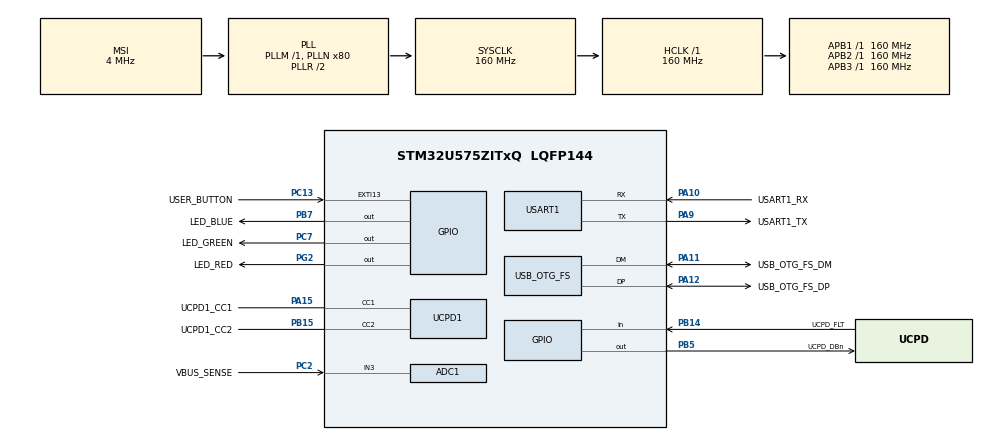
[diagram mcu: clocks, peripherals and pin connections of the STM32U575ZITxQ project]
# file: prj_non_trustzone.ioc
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ADC1.NbrOfConversion=1
ADC1.Resolution=ADC_RESOLUTION_14B
ADC1.master=1
CORTEX_M33_NS.userName=CORTEX_M33
HASH.DataType=HASH_DATATYPE_8B
HASH.KeySize=261
HASH.SecureHashAlgorithmType=HMAC SHA1
HASH.pKey=54 68 65 20 68 61 73 68 20 70 72 6f 63 65 73 73 6f 72 20 69 73 20 61 20 66 75 6c 6c 79 20 63 6f 6d 70 6c 69 61 6e 74 20 69 6d 70 6c 65 6d 65 6e 74 61 74 69 6f 6e 20 6f 66 20 74 68 65 20 73 65 63 75 72 65 20 68 61 73 68 20 61 6c 67 6f 72 69 74 68 6d 20 28 53 48 41 2d 31 29 2c 20 74 68 65 20 4d 44 35 20 28 6d 65 73 73 61 67 65 2d 64 69 67 65 73 74 20 61 6c 67 6f 72 69 74 68 6d 20 35 29 20 68 61 73 68 20 61 6c 67 6f 72 69 74 68 6d 20 61 6e 64 20 74 68 65 20 48 4d 41 43 20 28 6b 65 79 65 64 2d 68 61 73 68 20 6d 65 73 73 61 67 65 20 61 75 74 68 65 6e 74 69 63 61 74 69 6f 6e 20 63 6f 64 65 29 20 61 6c 67 6f 72 69 74 68 6d 20 73 75 69 74 61 62 6c 65 20 66 6f 72 20 61 20 76 61 72 69 65 74 79 20 6f 66 20 61 70 70 6c 69 63 61 74 69 6f 6e 73 2e 2a 2a 2a 20 53 54 4d 33 32 20 2a 2a 2a
HASH.pKeyInput=54686520686173682070726f636573736f7220697320612066756c6c7920636f6d706c69616e7420696d706c656d656e746174696f6e206f662074686520736563757265206861736820616c676f726974686d20285348412d31292c20746865204d443520286d6573736167652d64696765737420616c676f726974686d203529206861736820616c676f726974686d20616e642074686520484d414320286b657965642d68617368206d6573736167652061757468656e7469636174696f6e20636f64652920616c676f726974686d207375697461626c6520666f7220612076617269657479206f66206170706c69636174696f6e732e2a2a2a2053544d3332202a2a2a
Mcu.Family=STM32U5
Mcu.Name=STM32U575ZITxQ
Mcu.Package=LQFP144
NVIC.OTG_FS_IRQn=true\:0\:0\:false\:false\:true\:true\:true\:true
NVIC.PriorityGroup=NVIC_PRIORITYGROUP_3
PA10.GPIO_Label=USART1_RX
PA10.GPIO_PuPd=GPIO_PULLDOWN
PA10.GPIO_Speed=GPIO_SPEED_FREQ_VERY_HIGH
PA10.Mode=Asynchronous
PA10.Signal=USART1_RX
PA11.GPIO_Label=USB_OTG_FS_DM
PA11.GPIO_Speed=GPIO_SPEED_FREQ_VERY_HIGH
PA11.Mode=Device_Only
PA11.Signal=USB_OTG_FS_DM
PA12.GPIO_Label=USB_OTG_FS_DP
PA12.GPIO_Speed=GPIO_SPEED_FREQ_VERY_HIGH
PA12.Mode=Device_Only
PA12.Signal=USB_OTG_FS_DP
PA13\ (JTMS/SWDIO).Mode=Trace_Asynchronous_SW
PA13\ (JTMS/SWDIO).Signal=DEBUG_JTMS-SWDIO
PA14\ (JTCK/SWCLK).Mode=Trace_Asynchronous_SW
PA14\ (JTCK/SWCLK).Signal=DEBUG_JTCK-SWCLK
PA15\ (JTDI).GPIO_Label=UCPD1_CC1
PA15\ (JTDI).Mode=Sink_AllSignals
PA15\ (JTDI).Signal=UCPD1_CC1
PA9.GPIO_Label=USART1_TX
PA9.GPIO_PuPd=GPIO_PULLDOWN
PA9.GPIO_Speed=GPIO_SPEED_FREQ_VERY_HIGH
PA9.Mode=Asynchronous
PA9.Signal=USART1_TX
PB14.GPIO_Label=UCPD_FLT
PB14.Signal=GPIO_Input
PB15.GPIO_Label=UCPD1_CC2
PB15.Mode=Sink_AllSignals
PB15.Signal=UCPD1_CC2
PB3\ (JTDO/TRACESWO).Mode=Trace_Asynchronous_SW
PB3\ (JTDO/TRACESWO).Signal=DEBUG_JTDO-SWO
PB5.GPIO_Label=UCPD_DBn
PB5.Signal=GPIO_Output
PB7.GPIO_Label=LED_BLUE
PB7.GPIO_ModeDefaultOutputPP=GPIO_MODE_OUTPUT_PP
PB7.GPIO_PuPd=GPIO_PULLUP
PB7.GPIO_Speed=GPIO_SPEED_FREQ_HIGH
PB7.Signal=GPIO_Output
PC13.GPIO_Label=USER_BUTTON
PC13.GPIO_ModeDefaultEXTI=GPIO_MODE_IT_FALLING
PC13.Signal=GPXTI13
PC14-OSC32_IN\ (PC14).Mode=LSE-External-Oscillator
PC14-OSC32_IN\ (PC14).Signal=RCC_OSC32_IN
PC15-OSC32_OUT\ (PC15).Mode=LSE-External-Oscillator
PC15-OSC32_OUT\ (PC15).Signal=RCC_OSC32_OUT
PC2.GPIO_Label=VBUS_SENSE
PC2.Mode=IN3-Single-Ended
PC2.Signal=ADC1_IN3
PC7.GPIO_Label=LED_GREEN
PC7.GPIO_PuPd=GPIO_PULLUP
PC7.GPIO_Speed=GPIO_SPEED_FREQ_HIGH
PC7.Signal=GPIO_Output
PG2.GPIO_Label=LED_RED
PG2.GPIO_ModeDefaultOutputPP=GPIO_MODE_OUTPUT_PP
PG2.GPIO_PuPd=GPIO_PULLUP
PG2.GPIO_Speed=GPIO_SPEED_FREQ_HIGH
PG2.Signal=GPIO_Output
PWR.PowerMode=PWR_SMPS_SUPPLY
ProjectManager.HeapSize=0x2000
ProjectManager.StackSize=0x4000
ProjectManager.TargetToolchain=MDK-ARM V5.32
RCC.ADCFreq_Value=16000000
RCC.AHBFreq_Value=160000000
RCC.APB1Freq_Value=160000000
RCC.APB1TimFreq_Value=160000000
RCC.APB2Freq_Value=160000000
RCC.APB2TimFreq_Value=160000000
RCC.APB3Freq_Value=160000000
RCC.CortexFreq_Value=160000000
RCC.DACCLockSelectionVirtual=RCC_DAC1CLKSOURCE_LSI
RCC.DACCLockSelectionVirtualString=RCC_DAC1CLKSOURCE_LSI
RCC.EPOD_VALUE=4000000
RCC.HCLKFreq_Value=160000000
RCC.HSE_VALUE=16000000
RCC.HSI48_VALUE=48000000
RCC.HSI_VALUE=16000000
RCC.LSIDIV_VALUE=32000
RCC.MSI_VALUE=4000000
RCC.PLLN=80
RCC.SYSCLKFreq_VALUE=160000000
RCC.SYSCLKSource=RCC_SYSCLKSOURCE_PLLCLK
RCC.USBFreq_Value=48000000
RCC.VCOOutputFreq_Value=320000000
USART1.VirtualMode-Asynchronous=VM_ASYNC
USB_OTG_FS.VirtualMode=Device_Only
VP_HASH_VS_HASH.Mode=HASH_Activate
VP_ICACHE_VS_ICACHE.Mode=DirectMappedCache
VP_LPBAMQUEUE_VS_QUEUE.Mode=QUEUEMODE
VP_LPBAM_VS_SIG1.Mode=SmartRun
VP_LPBAM_VS_SIG4.Mode=LPDMA1
VP_PWR_VS_DBSignals.Mode=DisableDeadBatterySignals
VP_PWR_VS_LPOM.Mode=PowerOptimisation
VP_PWR_VS_SECSignals.Mode=Security/Privilege
board=NUCLEO-U575ZI-Q

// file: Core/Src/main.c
/* USER CODE BEGIN Header */
/**
 ******************************************************************************
 * @file           : main.c
 * @brief          : Main program body
 ******************************************************************************
 * @attention
 *
 * Copyright (c) 2023 STMicroelectronics.
 * All rights reserved.
 *
 * This software is licensed under terms that can be found in the LICENSE file
 * in the root directory of this software component.
 * If no LICENSE file comes with this software, it is provided AS-IS.
 *
 ******************************************************************************
 */
/* USER CODE END Header */
#include "main.h"
#include "adc.h"
#include "gpio.h"
#include "hash.h"
#include "icache.h"
#include "ucpd.h"
#include "usart.h"
#include "usb_otg.h"

/* USER CODE BEGIN Includes */
#include <stdio.h>
#include <string.h>
/* USER CODE END Includes */

/* USER CODE BEGIN PM */
#define INPUT_TAB_SIZE ((uint32_t)261) /* The size of the input data "aInput"  \
                                        */

__ALIGN_BEGIN static const uint8_t pKeyHASH[261] __ALIGN_END = {
    0x54, 0x68, 0x65, 0x20, 0x68, 0x61, 0x73, 0x68, 0x20, 0x70, 0x72, 0x6f,
    0x63, 0x65, 0x73, 0x73, 0x6f, 0x72, 0x20, 0x69, 0x73, 0x20, 0x61, 0x20,
    0x66, 0x75, 0x6c, 0x6c, 0x79, 0x20, 0x63, 0x6f, 0x6d, 0x70, 0x6c, 0x69,
    0x61, 0x6e, 0x74, 0x20, 0x69, 0x6d, 0x70, 0x6c, 0x65, 0x6d, 0x65, 0x6e,
    0x74, 0x61, 0x74, 0x69, 0x6f, 0x6e, 0x20, 0x6f, 0x66, 0x20, 0x74, 0x68,
    0x65, 0x20, 0x73, 0x65, 0x63, 0x75, 0x72, 0x65, 0x20, 0x68, 0x61, 0x73,
    0x68, 0x20, 0x61, 0x6c, 0x67, 0x6f, 0x72, 0x69, 0x74, 0x68, 0x6d, 0x20,
    0x28, 0x53, 0x48, 0x41, 0x2d, 0x31, 0x29, 0x2c, 0x20, 0x74, 0x68, 0x65,
    0x20, 0x4d, 0x44, 0x35, 0x20, 0x28, 0x6d, 0x65, 0x73, 0x73, 0x61, 0x67,
    0x65, 0x2d, 0x64, 0x69, 0x67, 0x65, 0x73, 0x74, 0x20, 0x61, 0x6c, 0x67,
    0x6f, 0x72, 0x69, 0x74, 0x68, 0x6d, 0x20, 0x35, 0x29, 0x20, 0x68, 0x61,
    0x73, 0x68, 0x20, 0x61, 0x6c, 0x67, 0x6f, 0x72, 0x69, 0x74, 0x68, 0x6d,
    0x20, 0x61, 0x6e, 0x64, 0x20, 0x74, 0x68, 0x65, 0x20, 0x48, 0x4d, 0x41,
    0x43, 0x20, 0x28, 0x6b, 0x65, 0x79, 0x65, 0x64, 0x2d, 0x68, 0x61, 0x73,
    0x68, 0x20, 0x6d, 0x65, 0x73, 0x73, 0x61, 0x67, 0x65, 0x20, 0x61, 0x75,
    0x74, 0x68, 0x65, 0x6e, 0x74, 0x69, 0x63, 0x61, 0x74, 0x69, 0x6f, 0x6e,
    0x20, 0x63, 0x6f, 0x64, 0x65, 0x29, 0x20, 0x61, 0x6c, 0x67, 0x6f, 0x72,
    0x69, 0x74, 0x68, 0x6d, 0x20, 0x73, 0x75, 0x69, 0x74, 0x61, 0x62, 0x6c,
    0x65, 0x20, 0x66, 0x6f, 0x72, 0x20, 0x61, 0x20, 0x76, 0x61, 0x72, 0x69,
    0x65, 0x74, 0x79, 0x20, 0x6f, 0x66, 0x20, 0x61, 0x70, 0x70, 0x6c, 0x69,
    0x63, 0x61, 0x74, 0x69, 0x6f, 0x6e, 0x73, 0x2e, 0x2a, 0x2a, 0x2a, 0x20,
    0x53, 0x54, 0x4d, 0x33, 0x32, 0x20, 0x2a, 0x2a, 0x2a};

__ALIGN_BEGIN const uint8_t aInput[INPUT_TAB_SIZE] __ALIGN_END = {
    0x54, 0x68, 0x65, 0x20, 0x68, 0x61, 0x73, 0x68, 0x20, 0x70, 0x72, 0x6f,
    0x63, 0x65, 0x73, 0x73, 0x6f, 0x72, 0x20, 0x69, 0x73, 0x20, 0x61, 0x20,
    0x66, 0x75, 0x6c, 0x6c, 0x79, 0x20, 0x63, 0x6f, 0x6d, 0x70, 0x6c, 0x69,
    0x61, 0x6e, 0x74, 0x20, 0x69, 0x6d, 0x70, 0x6c, 0x65, 0x6d, 0x65, 0x6e,
    0x74, 0x61, 0x74, 0x69, 0x6f, 0x6e, 0x20, 0x6f, 0x66, 0x20, 0x74, 0x68,
    0x65, 0x20, 0x73, 0x65, 0x63, 0x75, 0x72, 0x65, 0x20, 0x68, 0x61, 0x73,
    0x68, 0x20, 0x61, 0x6c, 0x67, 0x6f, 0x72, 0x69, 0x74, 0x68, 0x6d, 0x20,
    0x28, 0x53, 0x48, 0x41, 0x2d, 0x31, 0x29, 0x2c, 0x20, 0x74, 0x68, 0x65,
    0x20, 0x4d, 0x44, 0x35, 0x20, 0x28, 0x6d, 0x65, 0x73, 0x73, 0x61, 0x67,
    0x65, 0x2d, 0x64, 0x69, 0x67, 0x65, 0x73, 0x74, 0x20, 0x61, 0x6c, 0x67,
    0x6f, 0x72, 0x69, 0x74, 0x68, 0x6d, 0x20, 0x35, 0x29, 0x20, 0x68, 0x61,
    0x73, 0x68, 0x20, 0x61, 0x6c, 0x67, 0x6f, 0x72, 0x69, 0x74, 0x68, 0x6d,
    0x20, 0x61, 0x6e, 0x64, 0x20, 0x74, 0x68, 0x65, 0x20, 0x48, 0x4d, 0x41,
    0x43, 0x20, 0x28, 0x6b, 0x65, 0x79, 0x65, 0x64, 0x2d, 0x68, 0x61, 0x73,
    0x68, 0x20, 0x6d, 0x65, 0x73, 0x73, 0x61, 0x67, 0x65, 0x20, 0x61, 0x75,
    0x74, 0x68, 0x65, 0x6e, 0x74, 0x69, 0x63, 0x61, 0x74, 0x69, 0x6f, 0x6e,
    0x20, 0x63, 0x6f, 0x64, 0x65, 0x29, 0x20, 0x61, 0x6c, 0x67, 0x6f, 0x72,
    0x69, 0x74, 0x68, 0x6d, 0x20, 0x73, 0x75, 0x69, 0x74, 0x61, 0x62, 0x6c,
    0x65, 0x20, 0x66, 0x6f, 0x72, 0x20, 0x61, 0x20, 0x76, 0x61, 0x72, 0x69,
    0x65, 0x74, 0x79, 0x20, 0x6f, 0x66, 0x20, 0x61, 0x70, 0x70, 0x6c, 0x69,
    0x63, 0x61, 0x74, 0x69, 0x6f, 0x6e, 0x73, 0x2e, 0x2a, 0x2a, 0x2a, 0x20,
    0x53, 0x54, 0x4d, 0x33, 0x32, 0x20, 0x2a, 0x2a, 0x2a};

__ALIGN_BEGIN static uint8_t aHashDigest[32] __ALIGN_END;

/* USER CODE END PM */

void SystemClock_Config(void);
static void SystemPower_Config(void);

/* USER CODE BEGIN 0 */
void print_hex(uint8_t *buf, uint32_t len) {
  for (uint32_t i = 0; i < len; ++i) {
    printf("%02X", *(buf + i));
  }
  printf("\r\n");
}
/* USER CODE END 0 */

int main(void) {

  /* MCU Configuration--------------------------------------------------------*/

  /* Reset of all peripherals, Initializes the Flash interface and the Systick.
   */
  HAL_Init();

  /* Configure the system clock */
  SystemClock_Config();

  /* Configure the System Power */
  SystemPower_Config();

  /* Initialize all configured peripherals */
  MX_GPIO_Init();
  MX_ADC1_Init();
  MX_UCPD1_Init();
  MX_USART1_UART_Init();
  MX_USB_OTG_FS_PCD_Init();
  MX_HASH_Init();
  MX_ICACHE_Init();
  /* USER CODE BEGIN 2 */

  printf("Core Freq:%u Hz\n", SystemCoreClock);
  /****************************************************************************/
  /*************************** HMAC-SHA1 **************************************/
  /****************************************************************************/
  if (HAL_HMAC_SHA1_Start(&hhash, (uint8_t *)aInput, INPUT_TAB_SIZE,
                          aHashDigest, 0xFF) != HAL_OK) {
    Error_Handler();
  }
  printf("HMAC-SHA1 test passed.\n");
  print_hex(aHashDigest, 20);

  /****************************************************************************/
  /*************************** HMAC-MD5 ***************************************/
  /****************************************************************************/
  if (HAL_HASH_DeInit(&hhash) != HAL_OK) {
    Error_Handler();
  }
  MX_HASH_Init();

  if (HAL_HMAC_MD5_Start(&hhash, (uint8_t *)aInput, INPUT_TAB_SIZE, aHashDigest,
                         0xFF) != HAL_OK) {
    Error_Handler();
  }
  printf("HMAC-MD5 test passed.\n");
  print_hex(aHashDigest, 16);
  /****************************************************************************/
  /*************************** HMAC-SHA224
   * ***************************************/
  /****************************************************************************/
  if (HAL_HASH_DeInit(&hhash) != HAL_OK) {
    Error_Handler();
  }
  MX_HASH_Init();

  if (HAL_HMACEx_SHA224_Start(&hhash, (uint8_t *)aInput, INPUT_TAB_SIZE,
                              aHashDigest, 0xFF) != HAL_OK) {
    Error_Handler();
  }
  printf("HMAC-SHA224 test passed.\n");
  print_hex(aHashDigest, 28);

  /****************************************************************************/
  /*************************** HMAC-SHA256
   * ***************************************/
  /****************************************************************************/
  if (HAL_HASH_DeInit(&hhash) != HAL_OK) {
    Error_Handler();
  }
  MX_HASH_Init();

  if (HAL_HMACEx_SHA256_Start(&hhash, (uint8_t *)aInput, INPUT_TAB_SIZE,
                              aHashDigest, 0xFF) != HAL_OK) {
    Error_Handler();
  }
  printf("HMAC-SHA256 test passed.\n");
  print_hex(aHashDigest, 32);

  /****************************************************************************/
  /*************************** Hash-SHA1
   * ***************************************/
  /****************************************************************************/
  if (HAL_HASH_DeInit(&hhash) != HAL_OK) {
    Error_Handler();
  }
  MX_HASH_Init();

  if (HAL_HASH_SHA1_Start(&hhash, (uint8_t *)aInput, INPUT_TAB_SIZE,
                          aHashDigest, 0xFF) != HAL_OK) {
    Error_Handler();
  }
  printf("Hash-SHA1 test passed.\n");
  print_hex(aHashDigest, 20);

  /****************************************************************************/
  /*************************** Hash-MD5 ***************************************/
  /****************************************************************************/
  if (HAL_HASH_DeInit(&hhash) != HAL_OK) {
    Error_Handler();
  }
  MX_HASH_Init();

  if (HAL_HASH_MD5_Start(&hhash, (uint8_t *)aInput, INPUT_TAB_SIZE, aHashDigest,
                         0xFF) != HAL_OK) {
    Error_Handler();
  }
  printf("Hash-MD5 test passed.\n");
  print_hex(aHashDigest, 16);
  /****************************************************************************/
  /*************************** Hash-SHA224
   * ***************************************/
  /****************************************************************************/
  if (HAL_HASH_DeInit(&hhash) != HAL_OK) {
    Error_Handler();
  }
  MX_HASH_Init();

  if (HAL_HASHEx_SHA224_Start(&hhash, (uint8_t *)aInput, INPUT_TAB_SIZE,
                              aHashDigest, 0xFF) != HAL_OK) {
    Error_Handler();
  }
  printf("Hash-SHA224 test passed.\n");
  print_hex(aHashDigest, 28);

  /****************************************************************************/
  /*************************** Hash-SHA256
   * ***************************************/
  /****************************************************************************/
  if (HAL_HASH_DeInit(&hhash) != HAL_OK) {
    Error_Handler();
  }
  MX_HASH_Init();

  if (HAL_HASHEx_SHA256_Start(&hhash, (uint8_t *)aInput, INPUT_TAB_SIZE,
                              aHashDigest, 0xFF) != HAL_OK) {
    Error_Handler();
  }
  printf("Hash-SHA256 test passed.\n");
  print_hex(aHashDigest, 32);

  printf("%u %u\n", SystemCoreClock, HAL_GetTick());

  /* USER CODE END 2 */

  /* Infinite loop */
  while (1) {

  }
}

void SystemClock_Config(void) {
  RCC_OscInitTypeDef RCC_OscInitStruct = {0};
  RCC_ClkInitTypeDef RCC_ClkInitStruct = {0};

  /** Configure the main internal regulator output voltage
   */
  if (HAL_PWREx_ControlVoltageScaling(PWR_REGULATOR_VOLTAGE_SCALE1) != HAL_OK) {
    Error_Handler();
  }

  /** Initializes the CPU, AHB and APB buses clocks
   */
  RCC_OscInitStruct.OscillatorType = RCC_OSCILLATORTYPE_HSI48 |
                                     RCC_OSCILLATORTYPE_HSI |
                                     RCC_OSCILLATORTYPE_MSI;
  RCC_OscInitStruct.HSIState = RCC_HSI_ON;
  RCC_OscInitStruct.HSI48State = RCC_HSI48_ON;
  RCC_OscInitStruct.HSICalibrationValue = RCC_HSICALIBRATION_DEFAULT;
  RCC_OscInitStruct.MSIState = RCC_MSI_ON;
  RCC_OscInitStruct.MSICalibrationValue = RCC_MSICALIBRATION_DEFAULT;
  RCC_OscInitStruct.MSIClockRange = RCC_MSIRANGE_4;
  RCC_OscInitStruct.PLL.PLLState = RCC_PLL_ON;
  RCC_OscInitStruct.PLL.PLLSource = RCC_PLLSOURCE_MSI;
  RCC_OscInitStruct.PLL.PLLMBOOST = RCC_PLLMBOOST_DIV1;
  RCC_OscInitStruct.PLL.PLLM = 1;
  RCC_OscInitStruct.PLL.PLLN = 80;
  RCC_OscInitStruct.PLL.PLLP = 2;
  RCC_OscInitStruct.PLL.PLLQ = 2;
  RCC_OscInitStruct.PLL.PLLR = 2;
  RCC_OscInitStruct.PLL.PLLRGE = RCC_PLLVCIRANGE_0;
  RCC_OscInitStruct.PLL.PLLFRACN = 0;
  if (HAL_RCC_OscConfig(&RCC_OscInitStruct) != HAL_OK) {
    Error_Handler();
  }

  /** Initializes the CPU, AHB and APB buses clocks
   */
  RCC_ClkInitStruct.ClockType = RCC_CLOCKTYPE_HCLK | RCC_CLOCKTYPE_SYSCLK |
                                RCC_CLOCKTYPE_PCLK1 | RCC_CLOCKTYPE_PCLK2 |
                                RCC_CLOCKTYPE_PCLK3;
  RCC_ClkInitStruct.SYSCLKSource = RCC_SYSCLKSOURCE_PLLCLK;
  RCC_ClkInitStruct.AHBCLKDivider = RCC_SYSCLK_DIV1;
  RCC_ClkInitStruct.APB1CLKDivider = RCC_HCLK_DIV1;
  RCC_ClkInitStruct.APB2CLKDivider = RCC_HCLK_DIV1;
  RCC_ClkInitStruct.APB3CLKDivider = RCC_HCLK_DIV1;

  if (HAL_RCC_ClockConfig(&RCC_ClkInitStruct, FLASH_LATENCY_4) != HAL_OK) {
    Error_Handler();
  }
}

/**
 * @brief Power Configuration
 * @retval None
 */
static void SystemPower_Config(void) {
  HAL_PWREx_EnableVddIO2();

  /*
   * Switch to SMPS regulator instead of LDO
   */
  if (HAL_PWREx_ConfigSupply(PWR_SMPS_SUPPLY) != HAL_OK) {
    Error_Handler();
  }
}

void Error_Handler(void) {
  __disable_irq();
  while (1) {
  }
}

#ifdef USE_FULL_ASSERT
/**
 * @brief  Reports the name of the source file and the source line number
 *         where the assert_param error has occurred.
 * @param  file: pointer to the source file name
 * @param  line: assert_param error line source number
 * @retval None
 */
void assert_failed(uint8_t *file, uint32_t line) {
  /* USER CODE BEGIN 6 */
  /* User can add his own implementation to report the file name and line
     number,
     ex: printf("Wrong parameters value: file %s on line %d\r\n", file, line) */
  /* USER CODE END 6 */
}
#endif /* USE_FULL_ASSERT */
